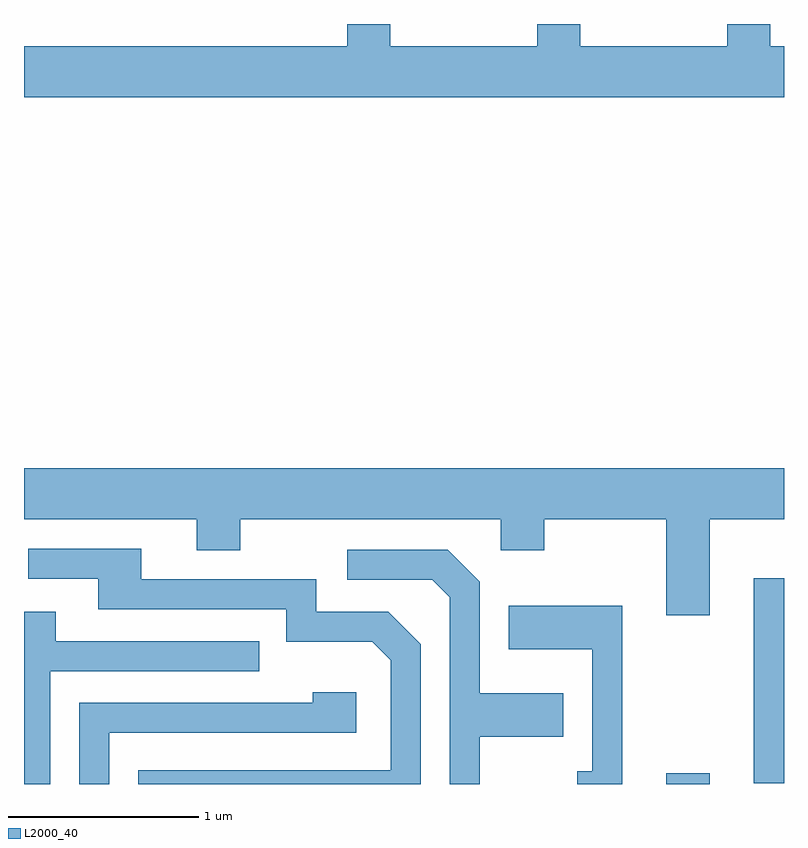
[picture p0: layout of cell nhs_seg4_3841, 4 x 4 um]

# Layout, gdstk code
import gdstk
lib = gdstk.Library(unit=1e-6, precision=1e-09)
def R(c, l, rs):  # rectangles x0, y0, x1, y1
    for r in rs: c.add(gdstk.rectangle(r[:2], r[2:], *l))
def P(c, l, *ps):  # polygons
    for p in ps: c.add(gdstk.Polygon(p, *l))
L2000_40 = (2000, 40)

nhs_seg4_3841 = lib.new_cell('nhs_seg4_3841')
R(nhs_seg4_3841, L2000_40, [(300.991,1319.982,301.219,1320.039), (301.451,1319.986,301.611,1321.064)])
P(nhs_seg4_3841, L2000_40, [(301.611,1323.864),(301.539,1323.864),(301.539,1323.982),(301.311,1323.982),(301.311,1323.864),(300.539,1323.864),(300.539,1323.982),(300.311,1323.982),(300.311,1323.864),(299.539,1323.864),(299.539,1323.982),(299.311,1323.982),(299.311,1323.864),(297.611,1323.864),(297.611,1323.596),(301.611,1323.596)],
  [(301.219,1321.376),(301.611,1321.376),(301.611,1321.644),(297.611,1321.644),(297.611,1321.376),(298.521,1321.376),(298.521,1321.211),(298.749,1321.211),(298.749,1321.376),(300.121,1321.376),(300.121,1321.211),(300.349,1321.211),(300.349,1321.376),(300.991,1321.376),(300.991,1320.871),(301.219,1320.871)],
  [(299.699,1320.717),(299.527,1320.889),(299.149,1320.889),(299.149,1321.059),(298.229,1321.059),(298.229,1321.219),(297.633,1321.219),(297.633,1321.061),(298.001,1321.061),(298.001,1320.901),(298.991,1320.901),(298.991,1320.731),(299.444,1320.731),(299.541,1320.634),(299.541,1320.054),(298.211,1320.054),(298.211,1319.982),(299.699,1319.982)],
  [(300.009,1320.231),(300.449,1320.231),(300.449,1320.459),(300.009,1320.459),(300.009,1321.047),(299.842,1321.214),(299.313,1321.214),(299.313,1321.056),(299.759,1321.056),(299.851,1320.964),(299.851,1319.982),(300.009,1319.982)],
  [(300.759,1320.919),(300.161,1320.919),(300.161,1320.691),(300.601,1320.691),(300.601,1320.049),(300.523,1320.049),(300.523,1319.982),(300.759,1319.982)],
  [(297.749,1320.576),(298.848,1320.576),(298.848,1320.734),(297.779,1320.734),(297.779,1320.889),(297.611,1320.889),(297.611,1319.982),(297.749,1319.982)],
  [(298.059,1320.251),(299.359,1320.251),(299.359,1320.464),(299.131,1320.464),(299.131,1320.409),(297.901,1320.409),(297.901,1319.982),(298.059,1319.982)])

lib.write_gds('nhs_seg4_3841.gds')
